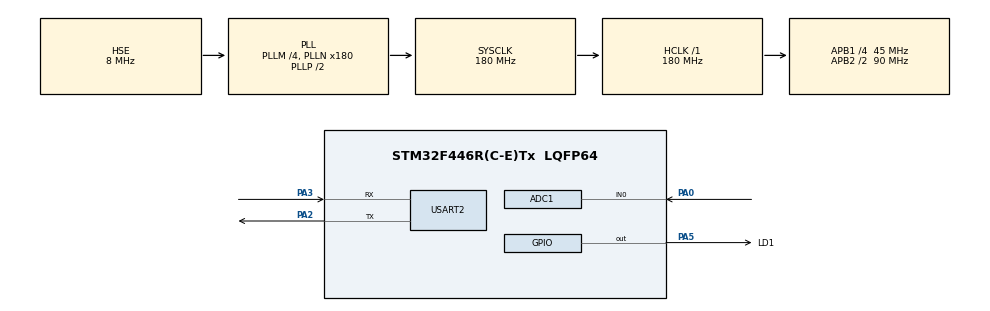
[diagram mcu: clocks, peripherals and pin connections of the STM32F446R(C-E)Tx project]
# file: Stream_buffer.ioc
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ADC1.Channel-0\#ChannelRegularConversion=ADC_CHANNEL_0
ADC1.ContinuousConvMode=DISABLE
ADC1.EnableAnalogWatchDog=false
ADC1.ExternalTrigConv=ADC_EXTERNALTRIGCONV_T8_TRGO
ADC1.InjNumberOfConversion=0
ADC1.NbrOfConversionFlag=1
ADC1.Rank-0\#ChannelRegularConversion=1
ADC1.SamplingTime-0\#ChannelRegularConversion=ADC_SAMPLETIME_3CYCLES
ADC1.master=1
FREERTOS.INCLUDE_uxTaskGetStackHighWaterMark2=1
FREERTOS.Tasks01=monitor_task,24,128,start_monitor_task,Default,NULL,Dynamic,NULL,NULL;sensor1_task,8,128,start_sensor1_task,Default,NULL,Dynamic,NULL,NULL;sensor2_task,8,128,start_sensor2_task,Default,NULL,Dynamic,NULL,NULL
FREERTOS.configCHECK_FOR_STACK_OVERFLOW=2
FREERTOS.configENABLE_BACKWARD_COMPATIBILITY=0
FREERTOS.configENABLE_FPU=1
FREERTOS.configRECORD_STACK_HIGH_ADDRESS=1
FREERTOS.configTOTAL_HEAP_SIZE=0x8000
FREERTOS.configUSE_NEWLIB_REENTRANT=1
FREERTOS.configUSE_POSIX_ERRNO=1
Mcu.Family=STM32F4
Mcu.Name=STM32F446R(C-E)Tx
Mcu.Package=LQFP64
NVIC.ADC_IRQn=true\:5\:0\:false\:false\:true\:true\:true\:true\:true
NVIC.PriorityGroup=NVIC_PRIORITYGROUP_4
NVIC.TIM1_UP_TIM10_IRQn=true\:15\:0\:false\:false\:true\:false\:false\:true\:true
NVIC.TIM8_TRG_COM_TIM14_IRQn=true\:5\:0\:false\:false\:true\:true\:true\:true\:true
NVIC.TIM8_UP_TIM13_IRQn=true\:5\:0\:false\:false\:true\:true\:true\:true\:true
NVIC.TimeBase=TIM1_UP_TIM10_IRQn
NVIC.TimeBaseIP=TIM10
NVIC.USART2_IRQn=true\:5\:0\:false\:false\:true\:true\:true\:true\:true
PA0-WKUP.Signal=ADCx_IN0
PA13.Mode=Trace_Asynchronous_SW
PA13.Signal=SYS_JTMS-SWDIO
PA14.Mode=Trace_Asynchronous_SW
PA14.Signal=SYS_JTCK-SWCLK
PA2.Mode=Asynchronous
PA2.Signal=USART2_TX
PA3.Mode=Asynchronous
PA3.Signal=USART2_RX
PA5.GPIO_Label=LD1
PA5.Signal=GPIO_Output
PB3.Mode=Trace_Asynchronous_SW
PB3.Signal=SYS_JTDO-SWO
PH0-OSC_IN.Mode=HSE-External-Oscillator
PH0-OSC_IN.Signal=RCC_OSC_IN
PH1-OSC_OUT.Mode=HSE-External-Oscillator
PH1-OSC_OUT.Signal=RCC_OSC_OUT
ProjectManager.HeapSize=0x200
ProjectManager.StackSize=0x400
ProjectManager.TargetToolchain=STM32CubeIDE
RCC.AHBFreq_Value=180000000
RCC.APB1CLKDivider=RCC_HCLK_DIV4
RCC.APB1Freq_Value=45000000
RCC.APB1TimFreq_Value=90000000
RCC.APB2CLKDivider=RCC_HCLK_DIV2
RCC.APB2Freq_Value=90000000
RCC.APB2TimFreq_Value=180000000
RCC.CortexFreq_Value=180000000
RCC.FLatency-AdvancedSettings=FLASH_LATENCY_5
RCC.HCLKFreq_Value=180000000
RCC.HSE_VALUE=8000000
RCC.HSI_VALUE=16000000
RCC.LSE_VALUE=32768
RCC.PLLM=4
RCC.PLLN=180
RCC.PLLSourceVirtual=RCC_PLLSOURCE_HSE
RCC.SYSCLKFreq_VALUE=180000000
RCC.SYSCLKSource=RCC_SYSCLKSOURCE_PLLCLK
RCC.USBFreq_Value=180000000
RCC.VCOOutputFreq_Value=360000000
SH.ADCx_IN0.0=ADC1_IN0,IN0
TIM8.AutoReloadPreload=TIM_AUTORELOAD_PRELOAD_ENABLE
TIM8.Period=1799
TIM8.Prescaler=999
TIM8.TIM_MasterOutputTrigger=TIM_TRGO_UPDATE
TIM8.TIM_MasterSlaveMode=TIM_MASTERSLAVEMODE_DISABLE
USART2.VirtualMode=VM_ASYNC
VP_FREERTOS_VS_CMSIS_V2.Mode=CMSIS_V2
VP_SYS_VS_tim10.Mode=TIM10
VP_TIM8_VS_ClockSourceINT.Mode=Internal
board=NUCLEO-F446RE

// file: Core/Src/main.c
/* USER CODE BEGIN Header */
/**
  ******************************************************************************
  * @file           : main.c
  * @brief          : Main program body
  ******************************************************************************
  * @attention
  *
  * Copyright (c) 2023 STMicroelectronics.
  * All rights reserved.
  *
  * This software is licensed under terms that can be found in the LICENSE file
  * in the root directory of this software component.
  * If no LICENSE file comes with this software, it is provided AS-IS.
  *
  ******************************************************************************
  */
/* USER CODE END Header */
#include "main.h"
#include "cmsis_os.h"
#include "adc.h"
#include "tim.h"
#include "usart.h"
#include "gpio.h"

/* USER CODE BEGIN PV */
extern uint16_t adc_value;
/* USER CODE END PV */

void SystemClock_Config(void);
void MX_FREERTOS_Init(void);

int main(void)
{

  /* MCU Configuration--------------------------------------------------------*/

  /* Reset of all peripherals, Initializes the Flash interface and the Systick. */
  HAL_Init();

  /* Configure the system clock */
  SystemClock_Config();

  /* Initialize all configured peripherals */
  MX_GPIO_Init();
  MX_ADC1_Init();
  MX_TIM8_Init();
  MX_USART2_UART_Init();
  /* USER CODE BEGIN 2 */
  HAL_TIM_Base_Start(&htim8);
  HAL_ADC_Start_IT(&hadc1);
  /* USER CODE END 2 */

  /* Init scheduler */
  osKernelInitialize();  /* Call init function for freertos objects (in freertos.c) */
  MX_FREERTOS_Init();

  /* Start scheduler */
  osKernelStart();

  /* We should never get here as control is now taken by the scheduler */
  /* Infinite loop */
  while (1)
  {

  }
}

void SystemClock_Config(void)
{
  RCC_OscInitTypeDef RCC_OscInitStruct = {0};
  RCC_ClkInitTypeDef RCC_ClkInitStruct = {0};

  /** Configure the main internal regulator output voltage
  */
  __HAL_RCC_PWR_CLK_ENABLE();
  __HAL_PWR_VOLTAGESCALING_CONFIG(PWR_REGULATOR_VOLTAGE_SCALE1);

  /** Initializes the RCC Oscillators according to the specified parameters
  * in the RCC_OscInitTypeDef structure.
  */
  RCC_OscInitStruct.OscillatorType = RCC_OSCILLATORTYPE_HSE;
  RCC_OscInitStruct.HSEState = RCC_HSE_ON;
  RCC_OscInitStruct.PLL.PLLState = RCC_PLL_ON;
  RCC_OscInitStruct.PLL.PLLSource = RCC_PLLSOURCE_HSE;
  RCC_OscInitStruct.PLL.PLLM = 4;
  RCC_OscInitStruct.PLL.PLLN = 180;
  RCC_OscInitStruct.PLL.PLLP = RCC_PLLP_DIV2;
  RCC_OscInitStruct.PLL.PLLQ = 2;
  RCC_OscInitStruct.PLL.PLLR = 2;
  if (HAL_RCC_OscConfig(&RCC_OscInitStruct) != HAL_OK)
  {
    Error_Handler();
  }

  /** Activate the Over-Drive mode
  */
  if (HAL_PWREx_EnableOverDrive() != HAL_OK)
  {
    Error_Handler();
  }

  /** Initializes the CPU, AHB and APB buses clocks
  */
  RCC_ClkInitStruct.ClockType = RCC_CLOCKTYPE_HCLK|RCC_CLOCKTYPE_SYSCLK
                              |RCC_CLOCKTYPE_PCLK1|RCC_CLOCKTYPE_PCLK2;
  RCC_ClkInitStruct.SYSCLKSource = RCC_SYSCLKSOURCE_PLLCLK;
  RCC_ClkInitStruct.AHBCLKDivider = RCC_SYSCLK_DIV1;
  RCC_ClkInitStruct.APB1CLKDivider = RCC_HCLK_DIV4;
  RCC_ClkInitStruct.APB2CLKDivider = RCC_HCLK_DIV2;

  if (HAL_RCC_ClockConfig(&RCC_ClkInitStruct, FLASH_LATENCY_5) != HAL_OK)
  {
    Error_Handler();
  }
}

void HAL_TIM_PeriodElapsedCallback(TIM_HandleTypeDef *htim)
{
  if (htim->Instance == TIM10) {
    HAL_IncTick();
  }
}

void Error_Handler(void)
{
  __disable_irq();
  while (1)
  {
  }
}

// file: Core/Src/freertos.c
/* USER CODE BEGIN Header */
/**
  ******************************************************************************
  * File Name          : freertos.c
  * Description        : Code for freertos applications
  ******************************************************************************
  * @attention
  *
  * Copyright (c) 2023 STMicroelectronics.
  * All rights reserved.
  *
  * This software is licensed under terms that can be found in the LICENSE file
  * in the root directory of this software component.
  * If no LICENSE file comes with this software, it is provided AS-IS.
  *
  ******************************************************************************
  */
/* USER CODE END Header */

#include "FreeRTOS.h"
#include "task.h"
#include "main.h"
#include "cmsis_os.h"

/* USER CODE BEGIN Includes */
#include "stream_buffer.h"

#include "string.h"
/* USER CODE END Includes */

/* USER CODE BEGIN Variables */
//float res=(3.3)/4096;
StreamBufferHandle_t xStreamBuffer;
const size_t xStreamBufferSizeBytes = 100, xTriggerLevel = 1;

uint16_t adc_value = 0;
const uint8_t threshold = 40;
char message[40];

uint8_t ucRxData[ 40 ];
size_t xReceivedBytes;

extern UART_HandleTypeDef huart2;
extern ADC_HandleTypeDef hadc1;
/* USER CODE END Variables */
/* Definitions for monitor_task */
osThreadId_t monitor_taskHandle;
const osThreadAttr_t monitor_task_attributes = {
  .name = "monitor_task",
  .stack_size = 128 * 4,
  .priority = (osPriority_t) osPriorityNormal,
};
/* Definitions for sensor1_task */
osThreadId_t sensor1_taskHandle;
const osThreadAttr_t sensor1_task_attributes = {
  .name = "sensor1_task",
  .stack_size = 128 * 4,
  .priority = (osPriority_t) osPriorityLow,
};
/* Definitions for sensor2_task */
osThreadId_t sensor2_taskHandle;
const osThreadAttr_t sensor2_task_attributes = {
  .name = "sensor2_task",
  .stack_size = 128 * 4,
  .priority = (osPriority_t) osPriorityLow,
};

void start_monitor_task(void *argument);
void start_sensor1_task(void *argument);
void start_sensor2_task(void *argument);

void MX_FREERTOS_Init(void); /* (MISRA C 2004 rule 8.1) */

/* Hook prototypes */
void vApplicationStackOverflowHook(TaskHandle_t xTask, signed char *pcTaskName);

/* USER CODE BEGIN 4 */
void vApplicationStackOverflowHook(TaskHandle_t xTask, signed char *pcTaskName)
{
   /* Run time stack overflow checking is performed if
   configCHECK_FOR_STACK_OVERFLOW is defined to 1 or 2. This hook function is
   called if a stack overflow is detected. */
}
/* USER CODE END 4 */

void MX_FREERTOS_Init(void) {
  /* USER CODE BEGIN Init */
//	HAL_ADC_Start_IT(&hadc1);
  /* USER CODE END Init */

  /* Create the thread(s) */
  /* creation of monitor_task */
  monitor_taskHandle = osThreadNew(start_monitor_task, NULL, &monitor_task_attributes);

  /* creation of sensor1_task */
  sensor1_taskHandle = osThreadNew(start_sensor1_task, NULL, &sensor1_task_attributes);

  /* creation of sensor2_task */
  sensor2_taskHandle = osThreadNew(start_sensor2_task, NULL, &sensor2_task_attributes);

  /* USER CODE BEGIN RTOS_THREADS */
  /* add threads, ... */
  xStreamBuffer = xStreamBufferCreate( xStreamBufferSizeBytes, xTriggerLevel );
  /* USER CODE END RTOS_THREADS */

}

void start_monitor_task(void *argument)
{
  /* USER CODE BEGIN start_monitor_task */
//	HAL_ADC_Start_IT(&hadc1);
	const TickType_t xBlockTime = pdMS_TO_TICKS( 20 );

  /* Infinite loop */
  for(;;)
  {
	xReceivedBytes= xStreamBufferReceive(xStreamBuffer, (void*)ucRxData, 40, xBlockTime);
	HAL_UART_Transmit(&huart2, (void*)ucRxData, 40, 1000);
    osDelay(1000);
  }
  /* USER CODE END start_monitor_task */
}

void start_sensor1_task(void *argument)
{
  /* USER CODE BEGIN start_sensor1_task */
  /* Infinite loop */
  for(;;)
  {

    osDelay(1000);
  }
  /* USER CODE END start_sensor1_task */
}

void start_sensor2_task(void *argument)
{
  /* USER CODE BEGIN start_sensor2_task */
  /* Infinite loop */
  for(;;)
  {
    osDelay(1000);
  }
  /* USER CODE END start_sensor2_task */
}

/* USER CODE BEGIN Application */
void HAL_ADC_ConvCpltCallback(ADC_HandleTypeDef* hadc) {
	BaseType_t xHigherPriorityTaskWoken = pdFALSE; /* Initialised to pdFALSE. */
	size_t xBytesSent;

	if (hadc->Instance == ADC1) {
		adc_value = HAL_ADC_GetValue(&hadc1);//*res;
		if (adc_value > threshold) {
			sprintf(message,"Our value= %d/n/r",adc_value);
		    xBytesSent = xStreamBufferSendFromISR( xStreamBuffer,
		                                           ( void * ) message,
		                                           strlen( message ),
		                                           &xHigherPriorityTaskWoken );
		  if(xBytesSent!=strlen( message ) ){
			  //Not fully sent
		  }
//		  taskYIELD_FROM_ISR( xHigherPriorityTaskWoken );
		}
	}
}
/* USER CODE END Application */
